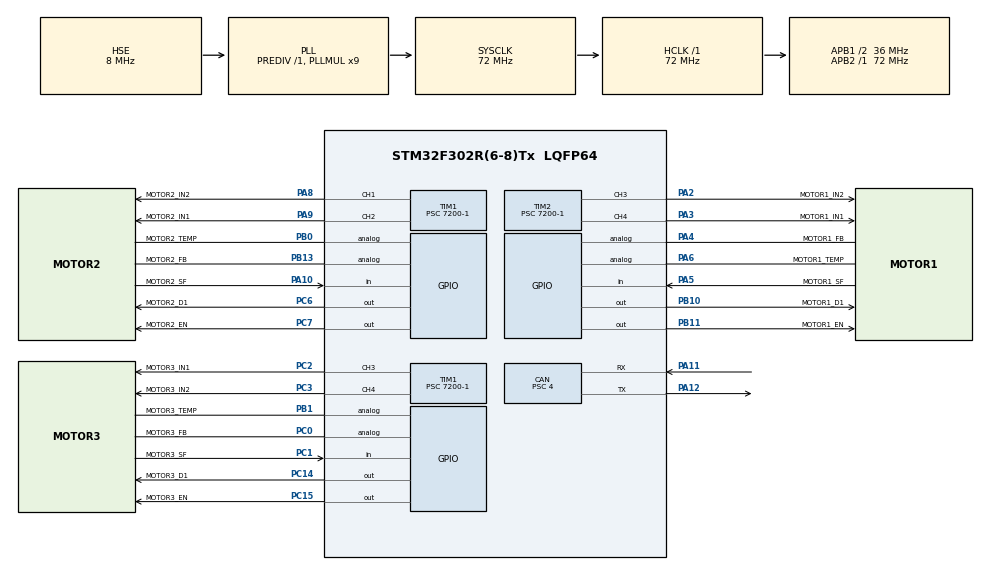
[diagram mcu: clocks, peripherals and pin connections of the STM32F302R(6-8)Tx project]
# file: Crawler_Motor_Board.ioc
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CAN.BS1=CAN_BS1_9TQ
CAN.BS2=CAN_BS2_8TQ
CAN.CalculateTimeQuantum=111.11111111111111
CAN.Prescaler=4
Mcu.Family=STM32F3
Mcu.Name=STM32F302R(6-8)Tx
Mcu.Package=LQFP64
NVIC.CAN_RX1_IRQn=true\:0\:0\:false\:false\:true\:true\:true
NVIC.PriorityGroup=NVIC_PRIORITYGROUP_4
NVIC.TIM2_IRQn=true\:0\:0\:false\:false\:true\:true\:true
NVIC.USB_LP_CAN_RX0_IRQn=true\:0\:0\:false\:false\:true\:true\:true
PA10.GPIO_Label=MOTOR2_SF
PA10.Signal=GPIO_Input
PA11.Mode=Master
PA11.Signal=CAN_RX
PA12.Mode=Master
PA12.Signal=CAN_TX
PA2.GPIO_Label=MOTOR1_IN2
PA2.GPIO_Speed=GPIO_SPEED_FREQ_HIGH
PA2.Signal=S_TIM2_CH3
PA3.GPIO_Label=MOTOR1_IN1
PA3.GPIO_Speed=GPIO_SPEED_FREQ_HIGH
PA3.Signal=S_TIM2_CH4
PA4.GPIO_Label=MOTOR1_FB
PA4.Signal=SharedAnalog_PA4
PA5.GPIO_Label=MOTOR1_SF
PA5.Signal=GPIO_Input
PA6.GPIO_Label=MOTOR1_TEMP
PA6.Signal=SharedAnalog_PA6
PA8.GPIO_Label=MOTOR2_IN2
PA8.GPIO_Speed=GPIO_SPEED_FREQ_HIGH
PA8.Signal=S_TIM1_CH1
PA9.GPIO_Label=MOTOR2_IN1
PA9.GPIO_Speed=GPIO_SPEED_FREQ_HIGH
PA9.Signal=S_TIM1_CH2
PB0.GPIO_Label=MOTOR2_TEMP
PB0.Signal=SharedAnalog_PB0
PB1.GPIO_Label=MOTOR3_TEMP
PB1.Signal=SharedAnalog_PB1
PB10.GPIO_Label=MOTOR1_D1
PB10.Signal=GPIO_Output
PB11.GPIO_Label=MOTOR1_EN
PB11.PinState=GPIO_PIN_RESET
PB11.Signal=GPIO_Output
PB13.GPIO_Label=MOTOR2_FB
PB13.Signal=SharedAnalog_PB13
PC0.GPIO_Label=MOTOR3_FB
PC0.Signal=SharedAnalog_PC0
PC1.GPIO_Label=MOTOR3_SF
PC1.Signal=GPIO_Input
PC14\ -\ OSC32_IN.GPIO_Label=MOTOR3_D1
PC14\ -\ OSC32_IN.Signal=GPIO_Output
PC15\ -\ OSC32_OUT.GPIO_Label=MOTOR3_EN
PC15\ -\ OSC32_OUT.Signal=GPIO_Output
PC2.GPIO_Label=MOTOR3_IN1
PC2.GPIO_Speed=GPIO_SPEED_FREQ_HIGH
PC2.Signal=S_TIM1_CH3
PC3.GPIO_Label=MOTOR3_IN2
PC3.GPIO_Speed=GPIO_SPEED_FREQ_HIGH
PC3.Signal=S_TIM1_CH4
PC6.GPIO_Label=MOTOR2_D1
PC6.Signal=GPIO_Output
PC7.GPIO_Label=MOTOR2_EN
PC7.Signal=GPIO_Output
PF0-OSC_IN.Mode=HSE-External-Oscillator
PF0-OSC_IN.Signal=RCC_OSC_IN
PF1-OSC_OUT.Mode=HSE-External-Oscillator
PF1-OSC_OUT.Signal=RCC_OSC_OUT
ProjectManager.HeapSize=0x200
ProjectManager.StackSize=0x400
ProjectManager.TargetToolchain=TrueSTUDIO
RCC.AHBFreq_Value=72000000
RCC.APB1CLKDivider=RCC_HCLK_DIV2
RCC.APB1Freq_Value=36000000
RCC.APB1TimFreq_Value=72000000
RCC.APB2Freq_Value=72000000
RCC.APB2TimFreq_Value=72000000
RCC.CortexFreq_Value=72000000
RCC.HCLKFreq_Value=72000000
RCC.HSE_VALUE=8000000
RCC.HSI_VALUE=8000000
RCC.LSE_VALUE=32768
RCC.PLLMUL=RCC_PLL_MUL9
RCC.PLLSourceVirtual=RCC_PLLSOURCE_HSE
RCC.SYSCLKFreq_VALUE=72000000
RCC.SYSCLKSourceVirtual=RCC_SYSCLKSOURCE_PLLCLK
RCC.USBFreq_Value=72000000
SH.S_TIM1_CH1.0=TIM1_CH1,PWM Generation1 CH1
SH.S_TIM1_CH2.0=TIM1_CH2,PWM Generation2 CH2
SH.S_TIM1_CH3.0=TIM1_CH3,PWM Generation3 CH3
SH.S_TIM1_CH4.0=TIM1_CH4,PWM Generation4 CH4
SH.S_TIM2_CH3.0=TIM2_CH3,PWM Generation3 CH3
SH.S_TIM2_CH4.0=TIM2_CH4,PWM Generation4 CH4
SH.SharedAnalog_PA4.0=ADC1_IN5
SH.SharedAnalog_PA4.1=GPIO_Analog
SH.SharedAnalog_PA6.0=ADC1_IN10
SH.SharedAnalog_PA6.1=GPIO_Analog
SH.SharedAnalog_PB0.0=ADC1_IN11
SH.SharedAnalog_PB0.1=GPIO_Analog
SH.SharedAnalog_PB1.0=ADC1_IN12
SH.SharedAnalog_PB1.1=GPIO_Analog
SH.SharedAnalog_PB13.0=ADC1_IN13
SH.SharedAnalog_PB13.1=GPIO_Analog
SH.SharedAnalog_PC0.0=ADC1_IN6
SH.SharedAnalog_PC0.1=GPIO_Analog
TIM1.Channel-PWM\ Generation1\ CH1=TIM_CHANNEL_1
TIM1.Channel-PWM\ Generation2\ CH2=TIM_CHANNEL_2
TIM1.Channel-PWM\ Generation3\ CH3=TIM_CHANNEL_3
TIM1.Channel-PWM\ Generation4\ CH4=TIM_CHANNEL_4
TIM1.Period=100-1
TIM1.Prescaler=7200-1
TIM2.Channel-PWM\ Generation3\ CH3=TIM_CHANNEL_3
TIM2.Channel-PWM\ Generation4\ CH4=TIM_CHANNEL_4
TIM2.Period=100-1
TIM2.Prescaler=7200-1
TIM2.Pulse-PWM\ Generation3\ CH3=0
board=custom

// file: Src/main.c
/* USER CODE BEGIN Header */
/**
  ******************************************************************************
  * @file           : main.c
  * @brief          : Main program body
  ******************************************************************************
  * @attention
  *
  * <h2><center>&copy; Copyright (c) 2019 STMicroelectronics.
  * All rights reserved.</center></h2>
  *
  * This software component is licensed by ST under BSD 3-Clause license,
  * the "License"; You may not use this file except in compliance with the
  * License. You may obtain a copy of the License at:
  *                        opensource.org/licenses/BSD-3-Clause
  *
  ******************************************************************************
  */
/* USER CODE END Header */

#include "main.h"

CAN_HandleTypeDef hcan;

TIM_HandleTypeDef htim1;
TIM_HandleTypeDef htim2;

void SystemClock_Config(void);
static void MX_GPIO_Init(void);
static void MX_TIM2_Init(void);
static void MX_CAN_Init(void);
static void MX_TIM1_Init(void);

int main(void)
{
  /* USER CODE BEGIN 1 */

	uint16_t Duty;
	Duty=50;
  /* USER CODE END 1 */

  /* MCU Configuration--------------------------------------------------------*/

  /* Reset of all peripherals, Initializes the Flash interface and the Systick. */
  HAL_Init();

  /* Configure the system clock */
  SystemClock_Config();

  /* Initialize all configured peripherals */
  MX_GPIO_Init();
  MX_TIM2_Init();
  MX_CAN_Init();
  MX_TIM1_Init();
  /* USER CODE BEGIN 2 */
	HAL_GPIO_WritePin(MOTOR1_D1_GPIO_Port,MOTOR1_D1_Pin,GPIO_PIN_RESET);
	HAL_GPIO_WritePin(MOTOR1_EN_GPIO_Port, MOTOR1_EN_Pin, GPIO_PIN_SET);

	HAL_GPIO_WritePin(MOTOR2_D1_GPIO_Port,MOTOR3_D1_Pin,GPIO_PIN_RESET);
	HAL_GPIO_WritePin(MOTOR2_EN_GPIO_Port, MOTOR2_EN_Pin, GPIO_PIN_SET);

	HAL_GPIO_WritePin(MOTOR3_D1_GPIO_Port,MOTOR3_D1_Pin,GPIO_PIN_RESET);
	HAL_GPIO_WritePin(MOTOR3_EN_GPIO_Port, MOTOR3_EN_Pin, GPIO_PIN_SET);

  HAL_TIM_PWM_Start(&htim1, TIM_CHANNEL_1);
  HAL_TIM_PWM_Start(&htim1, TIM_CHANNEL_2);

  HAL_TIM_PWM_Start(&htim1, TIM_CHANNEL_3);
  HAL_TIM_PWM_Start(&htim1, TIM_CHANNEL_4);

  HAL_TIM_PWM_Start(&htim2, TIM_CHANNEL_3);
  HAL_TIM_PWM_Start(&htim2, TIM_CHANNEL_4);
  /* USER CODE END 2 */

  /* Infinite loop */
  /* USER CODE BEGIN WHILE */
  while (1)
  {

	  __HAL_TIM_SET_COMPARE(&htim1,TIM_CHANNEL_1,0);
	  __HAL_TIM_SET_COMPARE(&htim1,TIM_CHANNEL_2,Duty);

	  __HAL_TIM_SET_COMPARE(&htim1,TIM_CHANNEL_3,0);
	  __HAL_TIM_SET_COMPARE(&htim1,TIM_CHANNEL_4,Duty);

	  __HAL_TIM_SET_COMPARE(&htim2,TIM_CHANNEL_3,Duty);
	  __HAL_TIM_SET_COMPARE(&htim2,TIM_CHANNEL_4,0);

	   // Wstawienie wyliczonej wartosci wypelnienia

    /* USER CODE END WHILE */

  }
}

void SystemClock_Config(void)
{
  RCC_OscInitTypeDef RCC_OscInitStruct = {0};
  RCC_ClkInitTypeDef RCC_ClkInitStruct = {0};
  RCC_PeriphCLKInitTypeDef PeriphClkInit = {0};

  /** Initializes the CPU, AHB and APB busses clocks
  */
  RCC_OscInitStruct.OscillatorType = RCC_OSCILLATORTYPE_HSE;
  RCC_OscInitStruct.HSEState = RCC_HSE_ON;
  RCC_OscInitStruct.HSEPredivValue = RCC_HSE_PREDIV_DIV1;
  RCC_OscInitStruct.HSIState = RCC_HSI_ON;
  RCC_OscInitStruct.PLL.PLLState = RCC_PLL_ON;
  RCC_OscInitStruct.PLL.PLLSource = RCC_PLLSOURCE_HSE;
  RCC_OscInitStruct.PLL.PLLMUL = RCC_PLL_MUL9;
  if (HAL_RCC_OscConfig(&RCC_OscInitStruct) != HAL_OK)
  {
    Error_Handler();
  }
  /** Initializes the CPU, AHB and APB busses clocks
  */
  RCC_ClkInitStruct.ClockType = RCC_CLOCKTYPE_HCLK|RCC_CLOCKTYPE_SYSCLK
                              |RCC_CLOCKTYPE_PCLK1|RCC_CLOCKTYPE_PCLK2;
  RCC_ClkInitStruct.SYSCLKSource = RCC_SYSCLKSOURCE_PLLCLK;
  RCC_ClkInitStruct.AHBCLKDivider = RCC_SYSCLK_DIV1;
  RCC_ClkInitStruct.APB1CLKDivider = RCC_HCLK_DIV2;
  RCC_ClkInitStruct.APB2CLKDivider = RCC_HCLK_DIV1;

  if (HAL_RCC_ClockConfig(&RCC_ClkInitStruct, FLASH_LATENCY_2) != HAL_OK)
  {
    Error_Handler();
  }
  PeriphClkInit.PeriphClockSelection = RCC_PERIPHCLK_TIM1;
  PeriphClkInit.Tim1ClockSelection = RCC_TIM1CLK_HCLK;
  if (HAL_RCCEx_PeriphCLKConfig(&PeriphClkInit) != HAL_OK)
  {
    Error_Handler();
  }
}

static void MX_CAN_Init(void)
{

  hcan.Instance = CAN;
  hcan.Init.Prescaler = 4;
  hcan.Init.Mode = CAN_MODE_NORMAL;
  hcan.Init.SyncJumpWidth = CAN_SJW_1TQ;
  hcan.Init.TimeSeg1 = CAN_BS1_9TQ;
  hcan.Init.TimeSeg2 = CAN_BS2_8TQ;
  hcan.Init.TimeTriggeredMode = DISABLE;
  hcan.Init.AutoBusOff = DISABLE;
  hcan.Init.AutoWakeUp = DISABLE;
  hcan.Init.AutoRetransmission = DISABLE;
  hcan.Init.ReceiveFifoLocked = DISABLE;
  hcan.Init.TransmitFifoPriority = DISABLE;
  if (HAL_CAN_Init(&hcan) != HAL_OK)
  {
    Error_Handler();
  }

}

static void MX_TIM1_Init(void)
{

  TIM_MasterConfigTypeDef sMasterConfig = {0};
  TIM_OC_InitTypeDef sConfigOC = {0};
  TIM_BreakDeadTimeConfigTypeDef sBreakDeadTimeConfig = {0};

  htim1.Instance = TIM1;
  htim1.Init.Prescaler = 7200-1;
  htim1.Init.CounterMode = TIM_COUNTERMODE_UP;
  htim1.Init.Period = 100-1;
  htim1.Init.ClockDivision = TIM_CLOCKDIVISION_DIV1;
  htim1.Init.RepetitionCounter = 0;
  htim1.Init.AutoReloadPreload = TIM_AUTORELOAD_PRELOAD_DISABLE;
  if (HAL_TIM_PWM_Init(&htim1) != HAL_OK)
  {
    Error_Handler();
  }
  sMasterConfig.MasterOutputTrigger = TIM_TRGO_RESET;
  sMasterConfig.MasterOutputTrigger2 = TIM_TRGO2_RESET;
  sMasterConfig.MasterSlaveMode = TIM_MASTERSLAVEMODE_DISABLE;
  if (HAL_TIMEx_MasterConfigSynchronization(&htim1, &sMasterConfig) != HAL_OK)
  {
    Error_Handler();
  }
  sConfigOC.OCMode = TIM_OCMODE_PWM1;
  sConfigOC.Pulse = 0;
  sConfigOC.OCPolarity = TIM_OCPOLARITY_HIGH;
  sConfigOC.OCNPolarity = TIM_OCNPOLARITY_HIGH;
  sConfigOC.OCFastMode = TIM_OCFAST_DISABLE;
  sConfigOC.OCIdleState = TIM_OCIDLESTATE_RESET;
  sConfigOC.OCNIdleState = TIM_OCNIDLESTATE_RESET;
  if (HAL_TIM_PWM_ConfigChannel(&htim1, &sConfigOC, TIM_CHANNEL_1) != HAL_OK)
  {
    Error_Handler();
  }
  if (HAL_TIM_PWM_ConfigChannel(&htim1, &sConfigOC, TIM_CHANNEL_2) != HAL_OK)
  {
    Error_Handler();
  }
  if (HAL_TIM_PWM_ConfigChannel(&htim1, &sConfigOC, TIM_CHANNEL_3) != HAL_OK)
  {
    Error_Handler();
  }
  if (HAL_TIM_PWM_ConfigChannel(&htim1, &sConfigOC, TIM_CHANNEL_4) != HAL_OK)
  {
    Error_Handler();
  }
  sBreakDeadTimeConfig.OffStateRunMode = TIM_OSSR_DISABLE;
  sBreakDeadTimeConfig.OffStateIDLEMode = TIM_OSSI_DISABLE;
  sBreakDeadTimeConfig.LockLevel = TIM_LOCKLEVEL_OFF;
  sBreakDeadTimeConfig.DeadTime = 0;
  sBreakDeadTimeConfig.BreakState = TIM_BREAK_DISABLE;
  sBreakDeadTimeConfig.BreakPolarity = TIM_BREAKPOLARITY_HIGH;
  sBreakDeadTimeConfig.BreakFilter = 0;
  sBreakDeadTimeConfig.Break2State = TIM_BREAK2_DISABLE;
  sBreakDeadTimeConfig.Break2Polarity = TIM_BREAK2POLARITY_HIGH;
  sBreakDeadTimeConfig.Break2Filter = 0;
  sBreakDeadTimeConfig.AutomaticOutput = TIM_AUTOMATICOUTPUT_DISABLE;
  if (HAL_TIMEx_ConfigBreakDeadTime(&htim1, &sBreakDeadTimeConfig) != HAL_OK)
  {
    Error_Handler();
  }
  HAL_TIM_MspPostInit(&htim1);

}

static void MX_TIM2_Init(void)
{

  TIM_MasterConfigTypeDef sMasterConfig = {0};
  TIM_OC_InitTypeDef sConfigOC = {0};

  htim2.Instance = TIM2;
  htim2.Init.Prescaler = 7200-1;
  htim2.Init.CounterMode = TIM_COUNTERMODE_UP;
  htim2.Init.Period = 100-1;
  htim2.Init.ClockDivision = TIM_CLOCKDIVISION_DIV1;
  htim2.Init.AutoReloadPreload = TIM_AUTORELOAD_PRELOAD_DISABLE;
  if (HAL_TIM_PWM_Init(&htim2) != HAL_OK)
  {
    Error_Handler();
  }
  sMasterConfig.MasterOutputTrigger = TIM_TRGO_RESET;
  sMasterConfig.MasterSlaveMode = TIM_MASTERSLAVEMODE_DISABLE;
  if (HAL_TIMEx_MasterConfigSynchronization(&htim2, &sMasterConfig) != HAL_OK)
  {
    Error_Handler();
  }
  sConfigOC.OCMode = TIM_OCMODE_PWM1;
  sConfigOC.Pulse = 0;
  sConfigOC.OCPolarity = TIM_OCPOLARITY_HIGH;
  sConfigOC.OCFastMode = TIM_OCFAST_DISABLE;
  if (HAL_TIM_PWM_ConfigChannel(&htim2, &sConfigOC, TIM_CHANNEL_3) != HAL_OK)
  {
    Error_Handler();
  }
  if (HAL_TIM_PWM_ConfigChannel(&htim2, &sConfigOC, TIM_CHANNEL_4) != HAL_OK)
  {
    Error_Handler();
  }
  HAL_TIM_MspPostInit(&htim2);

}

static void MX_GPIO_Init(void)
{
  GPIO_InitTypeDef GPIO_InitStruct = {0};

  /* GPIO Ports Clock Enable */
  __HAL_RCC_GPIOC_CLK_ENABLE();
  __HAL_RCC_GPIOF_CLK_ENABLE();
  __HAL_RCC_GPIOA_CLK_ENABLE();
  __HAL_RCC_GPIOB_CLK_ENABLE();

  /*Configure GPIO pin Output Level */
  HAL_GPIO_WritePin(GPIOC, MOTOR3_D1_Pin|MOTOR3_EN_Pin|MOTOR2_D1_Pin|MOTOR2_EN_Pin, GPIO_PIN_RESET);

  /*Configure GPIO pin Output Level */
  HAL_GPIO_WritePin(GPIOB, MOTOR1_D1_Pin|MOTOR1_EN_Pin, GPIO_PIN_RESET);

  /*Configure GPIO pins : MOTOR3_D1_Pin MOTOR3_EN_Pin MOTOR2_D1_Pin MOTOR2_EN_Pin */
  GPIO_InitStruct.Pin = MOTOR3_D1_Pin|MOTOR3_EN_Pin|MOTOR2_D1_Pin|MOTOR2_EN_Pin;
  GPIO_InitStruct.Mode = GPIO_MODE_OUTPUT_PP;
  GPIO_InitStruct.Pull = GPIO_NOPULL;
  GPIO_InitStruct.Speed = GPIO_SPEED_FREQ_LOW;
  HAL_GPIO_Init(GPIOC, &GPIO_InitStruct);

  /*Configure GPIO pin : MOTOR3_FB_Pin */
  GPIO_InitStruct.Pin = MOTOR3_FB_Pin;
  GPIO_InitStruct.Mode = GPIO_MODE_ANALOG;
  GPIO_InitStruct.Pull = GPIO_NOPULL;
  HAL_GPIO_Init(GPIOC, &GPIO_InitStruct);

  /*Configure GPIO pin : MOTOR3_SF_Pin */
  GPIO_InitStruct.Pin = MOTOR3_SF_Pin;
  GPIO_InitStruct.Mode = GPIO_MODE_INPUT;
  GPIO_InitStruct.Pull = GPIO_NOPULL;
  HAL_GPIO_Init(MOTOR3_SF_GPIO_Port, &GPIO_InitStruct);

  /*Configure GPIO pins : MOTOR1_FB_Pin MOTOR1_TEMP_Pin */
  GPIO_InitStruct.Pin = MOTOR1_FB_Pin|MOTOR1_TEMP_Pin;
  GPIO_InitStruct.Mode = GPIO_MODE_ANALOG;
  GPIO_InitStruct.Pull = GPIO_NOPULL;
  HAL_GPIO_Init(GPIOA, &GPIO_InitStruct);

  /*Configure GPIO pins : MOTOR1_SF_Pin MOTOR2_SF_Pin */
  GPIO_InitStruct.Pin = MOTOR1_SF_Pin|MOTOR2_SF_Pin;
  GPIO_InitStruct.Mode = GPIO_MODE_INPUT;
  GPIO_InitStruct.Pull = GPIO_NOPULL;
  HAL_GPIO_Init(GPIOA, &GPIO_InitStruct);

  /*Configure GPIO pins : MOTOR2_TEMP_Pin MOTOR3_TEMP_Pin MOTOR2_FB_Pin */
  GPIO_InitStruct.Pin = MOTOR2_TEMP_Pin|MOTOR3_TEMP_Pin|MOTOR2_FB_Pin;
  GPIO_InitStruct.Mode = GPIO_MODE_ANALOG;
  GPIO_InitStruct.Pull = GPIO_NOPULL;
  HAL_GPIO_Init(GPIOB, &GPIO_InitStruct);

  /*Configure GPIO pins : MOTOR1_D1_Pin MOTOR1_EN_Pin */
  GPIO_InitStruct.Pin = MOTOR1_D1_Pin|MOTOR1_EN_Pin;
  GPIO_InitStruct.Mode = GPIO_MODE_OUTPUT_PP;
  GPIO_InitStruct.Pull = GPIO_NOPULL;
  GPIO_InitStruct.Speed = GPIO_SPEED_FREQ_LOW;
  HAL_GPIO_Init(GPIOB, &GPIO_InitStruct);

}

void Error_Handler(void)
{
}

/************************ (C) COPYRIGHT STMicroelectronics *****END OF FILE****/
